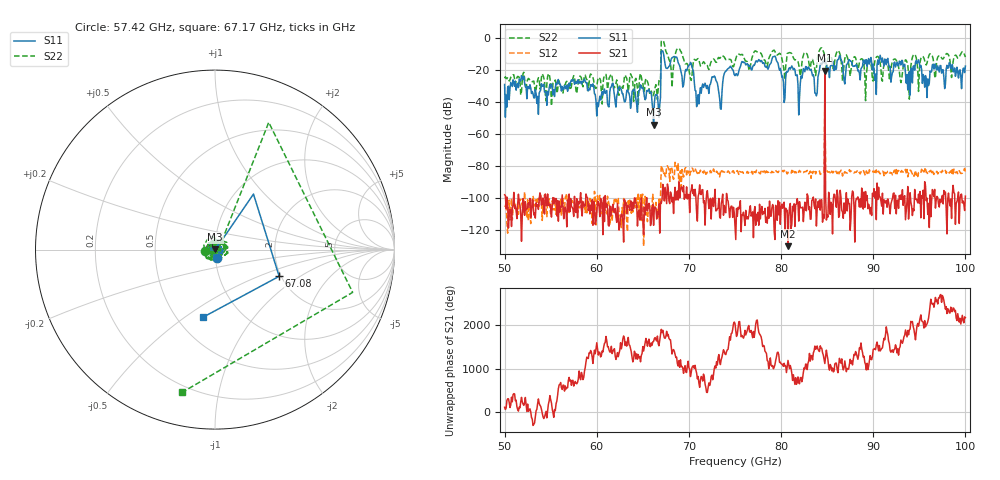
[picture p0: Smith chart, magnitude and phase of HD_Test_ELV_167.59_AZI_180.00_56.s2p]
! 11/25/2026 9:30:34 AM
! C:\ANRITSUVNA\TEMP\TEMP.S2P
! CHANNEL.1
! TR.MEASUREMENT
! RAW.DATA
# HZ S RI R 50.0
! FREQ.HZ  S11RE  S11IM  S21RE  S21IM  S12RE  S12IM  S22RE  S22IM
!; PortSelection: Port_12
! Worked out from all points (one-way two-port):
!   601 points, 50 GHz to 100 GHz, reference 50 ohm
!   highest |S21| = -20.67 dB at 84.75 GHz (marker M1); lowest = -130.0 dB at 80.75 GHz (marker M2)
!   lowest |S11| = -54.3 dB at 66.17 GHz (marker M3), VSWR 1.00, Z = 50.1 + j0.147 ohm
!   |S11| at or under -10 dB: start of sweep to 67 GHz; 67.24 GHz to end of sweep
!   |S22| runs from -42.6 to -1.8 dB; largest |S21 - S12| = 0.11
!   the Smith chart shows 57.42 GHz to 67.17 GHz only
!   S11 on the Smith chart (normalised r, x): 57.42 GHz: 1.02, -0.10; 67.08 GHz: 1.95, -0.68; 67.17 GHz: 0.67, -0.59
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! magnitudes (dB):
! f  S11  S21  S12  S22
! 50 GHz  -29.2  -98.0  -105.1  -25.4
! 57.42 GHz  -26.3  -107.0  -102.4  -25.3
! 58.42 GHz  -27.2  -111.2  -102.9  -29.0
! 60.17 GHz  -43.1  -102.3  -104.6  -24.9
! 61.67 GHz  -28.7  -106.5  -114.4  -24.5
! 66.17 GHz  -54.3  -117.0  -107.9  -35.4
! 66.67 GHz  -42.0  -109.9  -112.1  -32.2
! 67.08 GHz  -8.2  -100.7  -81.3  -1.9
! 67.17 GHz  -8.4  -91.5  -82.3  -1.8
! 70.17 GHz  -15.4  -96.5  -83.8  -25.7
! 70.92 GHz  -40.8  -114.4  -84.7  -13.3
! 75 GHz  -23.7  -118.0  -83.8  -15.0
! 79.25 GHz  -11.8  -120.7  -83.9  -7.9
! 80.75 GHz  -21.2  -130.0  -84.0  -9.7
! 83.42 GHz  -23.8  -101.1  -84.7  -13.6
! 83.83 GHz  -36.3  -117.4  -83.6  -19.5
! 84.75 GHz  -13.2  -20.7  -36.2  -11.7
! 91.67 GHz  -16.6  -102.6  -83.4  -20.4
! 93.75 GHz  -32.6  -92.8  -86.7  -17.2
! 94.83 GHz  -15.0  -103.0  -86.6  -20.3
! 95.83 GHz  -37.3  -100.0  -84.0  -15.9
! 100 GHz  -17.8  -98.8  -83.7  -12.1
